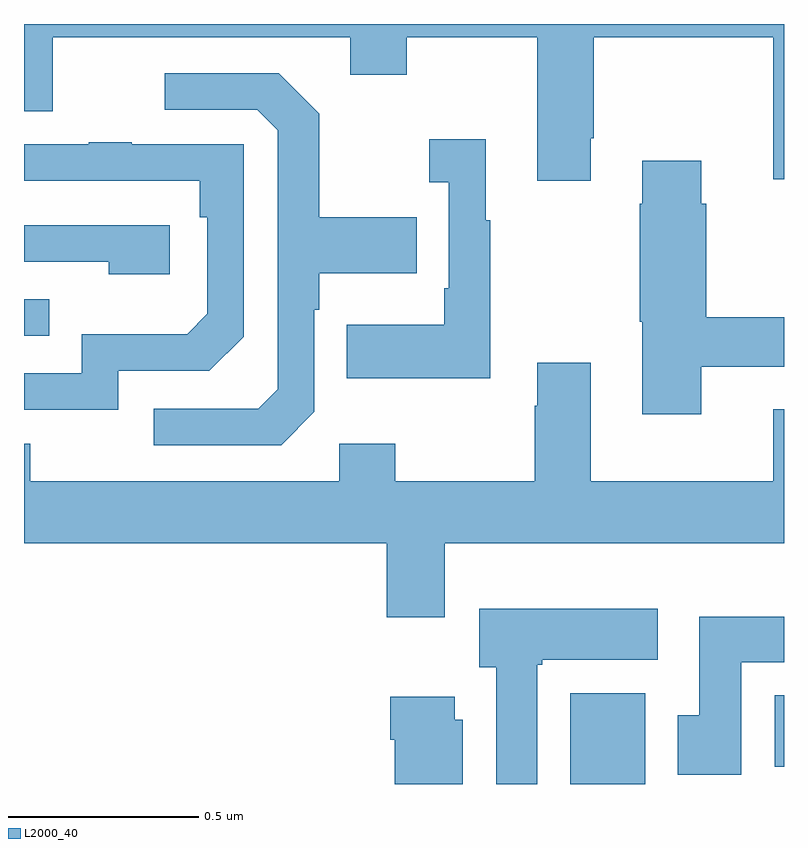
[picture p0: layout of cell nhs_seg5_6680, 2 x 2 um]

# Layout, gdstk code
import gdstk
lib = gdstk.Library(unit=1e-6, precision=1e-09)
def R(c, l, rs):  # rectangles x0, y0, x1, y1
    for r in rs: c.add(gdstk.rectangle(r[:2], r[2:], *l))
def P(c, l, *ps):  # polygons
    for p in ps: c.add(gdstk.Polygon(p, *l))
L2000_40 = (2000, 40)

nhs_seg5_6680 = lib.new_cell('nhs_seg5_6680')
R(nhs_seg5_6680, L2000_40, [(200.438,850.799,200.635,851.038), (200.975,850.844,201,851.032), (199,851.979,199.067,852.075)])
P(nhs_seg5_6680, L2000_40, [(200.491,852.499),(200.499,852.499),(200.499,852.764),(200.972,852.764),(200.972,852.39),(201,852.39),(201,852.799),(199,852.799),(199,852.57),(199.075,852.57),(199.075,852.764),(199.859,852.764),(199.859,852.665),(200.007,852.665),(200.007,852.764),(200.351,852.764),(200.351,852.387),(200.491,852.387)],
  [(199.764,851.778),(199.764,852.047),(199.777,852.047),(199.777,852.143),(200.033,852.143),(200.033,852.291),(199.777,852.291),(199.777,852.563),(199.671,852.669),(199.371,852.669),(199.371,852.573),(199.614,852.573),(199.668,852.519),(199.668,851.838),(199.617,851.787),(199.341,851.787),(199.341,851.691),(199.677,851.691)],
  [(200.227,852.283),(200.215,852.283),(200.215,852.496),(200.067,852.496),(200.067,852.383),(200.118,852.383),(200.118,852.103),(200.106,852.103),(200.106,852.007),(199.849,852.007),(199.849,851.867),(200.227,851.867)],
  [(199.248,851.886),(199.488,851.886),(199.578,851.976),(199.578,852.483),(199.283,852.483),(199.283,852.488),(199.171,852.488),(199.171,852.483),(199,852.483),(199,852.387),(199.462,852.387),(199.462,852.29),(199.482,852.29),(199.482,852.036),(199.429,851.983),(199.152,851.983),(199.152,851.88),(199,851.88),(199,851.784),(199.248,851.784)],
  [(200.782,851.897),(201,851.897),(201,852.027),(200.795,852.027),(200.795,852.326),(200.782,852.326),(200.782,852.439),(200.627,852.439),(200.627,852.326),(200.62,852.326),(200.62,852.015),(200.627,852.015),(200.627,851.772),(200.782,851.772)],
  [(199.384,852.27),(199,852.27),(199,852.174),(199.223,852.174),(199.223,852.14),(199.384,852.14)],
  [(200.107,851.432),(201,851.432),(201,851.785),(200.972,851.785),(200.972,851.596),(200.491,851.596),(200.491,851.908),(200.351,851.908),(200.351,851.795),(200.344,851.795),(200.344,851.596),(199.977,851.596),(199.977,851.695),(199.83,851.695),(199.83,851.596),(199.017,851.596),(199.017,851.695),(199,851.695),(199,851.432),(199.955,851.432),(199.955,851.238),(200.107,851.238)],
  [(200.35,851.113),(200.364,851.113),(200.364,851.126),(200.668,851.126),(200.668,851.26),(200.198,851.26),(200.198,851.106),(200.243,851.106),(200.243,850.799),(200.35,850.799)],
  [(200.887,851.12),(201,851.12),(201,851.239),(200.777,851.239),(200.777,850.98),(200.72,850.98),(200.72,850.824),(200.887,850.824)],
  [(200.155,850.968),(200.134,850.968),(200.134,851.029),(199.964,851.029),(199.964,850.916),(199.976,850.916),(199.976,850.799),(200.155,850.799)])

lib.write_gds('nhs_seg5_6680.gds')
